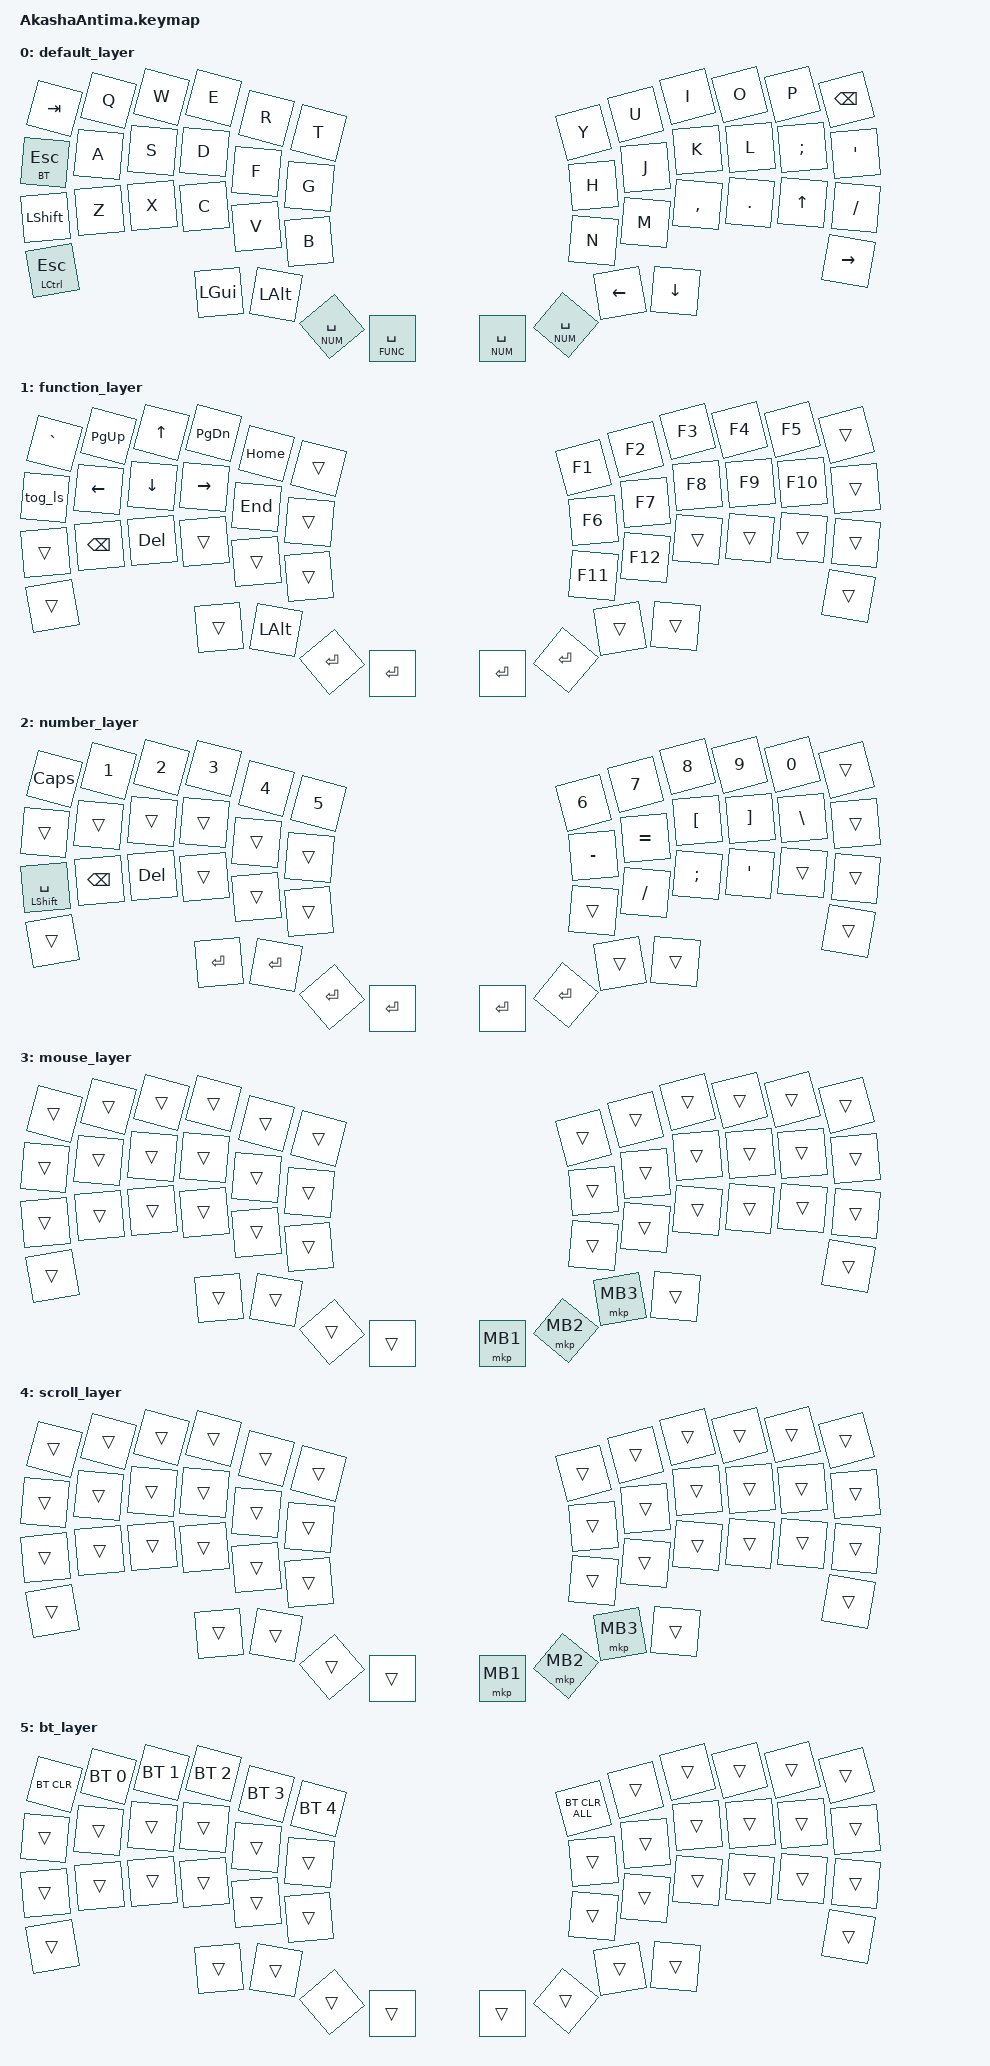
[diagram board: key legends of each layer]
#include <behaviors.dtsi>
#include <dt-bindings/zmk/keys.h>
#include <dt-bindings/zmk/pointing.h>
#include <dt-bindings/zmk/bt.h>
#include <physical_layouts.dtsi>
#include <layout_shift_kp_override.dtsi>

#define FUNC 1
#define NUM 2
#define MOUSE 3
#define SCROLL 4
#define BT 5
 
/ {

    behaviors {
    }; 

   keymap {
        compatible = "zmk,keymap";
        default_layer {
            bindings = <
&kp TAB       &kp Q     &kp W      &kp E     &kp R          &kp T               &kp Y           &kp U          &kp I      &kp O      &kp P      &kp BKSP
&lt BT ESC    &kp A     &kp S      &kp D     &kp F          &kp G               &kp H           &kp J          &kp K      &kp L      &kp SEMI   &kp SQT
&kp LSHFT     &kp Z     &kp X      &kp C     &kp V          &kp B               &kp N           &kp M          &kp COMMA  &kp DOT    &kp UP     &kp FSLH
&mt LCTL ESC              &kp LGUI  &kp LALT   &lt NUM SPACE  &lt FUNC SPACE    &lt NUM SPACE  &lt NUM SPACE             &kp LEFT   &kp DOWN   &kp RIGHT
>;
       };

       function_layer {
           bindings = <
&kp GRAVE  &kp PG_UP  &kp UP     &kp PG_DN  &kp HOME   &trans         &kp F1     &kp F2     &kp F3     &kp F4     &kp F5     &trans
&tog_ls    &kp LEFT   &kp DOWN   &kp RIGHT  &kp END    &trans         &kp F6     &kp F7     &kp F8     &kp F9     &kp F10    &trans
&trans     &kp BKSP   &kp DEL    &trans     &trans     &trans         &kp F11    &kp F12    &trans     &trans     &trans     &trans
&trans     &trans     &kp LALT              &kp ENTER  &kp ENTER      &kp ENTER  &kp ENTER             &trans     &trans     &trans
>;
       };

       number_layer {
           bindings = <
&kp CAPS         &kp N1         &kp N2     &kp N3    &kp N4     &kp N5         &kp N6     &kp N7     &kp N8     &kp N9     &kp N0     &trans
&trans           &trans         &trans     &trans    &trans     &trans         &kp MINUS  &kp EQUAL  &kp LBKT   &kp RBKT   &kp BSLH   &trans
&mt LSHFT SPACE  &kp BACKSPACE  &kp DEL    &trans    &trans     &trans         &trans     &kp FSLH   &kp SEMI   &kp SQT    &trans     &trans
&trans           &kp ENTER      &kp ENTER            &kp ENTER  &kp ENTER      &kp ENTER  &kp ENTER             &trans     &trans     &trans
>;
       };
       
       mouse_layer {
           bindings = <
&trans    &trans  &trans     &trans    &trans     &trans      &trans    &trans    &trans     &trans     &trans     &trans
&trans    &trans  &trans     &trans    &trans     &trans      &trans    &trans    &trans     &trans     &trans     &trans
&trans    &trans  &trans     &trans    &trans     &trans      &trans    &trans    &trans     &trans     &trans     &trans
&trans    &trans  &trans               &trans     &trans      &mkp MB1  &mkp MB2             &mkp MB3   &trans     &trans
>;
       };

       scroll_layer {
           bindings = <
&trans    &trans  &trans     &trans    &trans     &trans      &trans    &trans    &trans     &trans     &trans     &trans
&trans    &trans  &trans     &trans    &trans     &trans      &trans    &trans    &trans     &trans     &trans     &trans
&trans    &trans  &trans     &trans    &trans     &trans      &trans    &trans    &trans     &trans     &trans     &trans
&trans    &trans  &trans               &trans     &trans      &mkp MB1  &mkp MB2             &mkp MB3   &trans     &trans
>;
       };

        bt_layer {
           bindings = <
&bt BT_CLR  &bt BT_SEL 0  &bt BT_SEL 1  &bt BT_SEL 2  &bt BT_SEL 3  &bt BT_SEL 4      &bt BT_CLR_ALL  &trans    &trans     &trans     &trans     &trans
&trans      &trans        &trans        &trans        &trans        &trans            &trans          &trans    &trans     &trans     &trans     &trans
&trans      &trans        &trans        &trans        &trans        &trans            &trans          &trans    &trans     &trans     &trans     &trans
&trans      &trans        &trans                      &trans        &trans            &trans          &trans               &trans     &trans     &trans
>;
        };
    };
};
